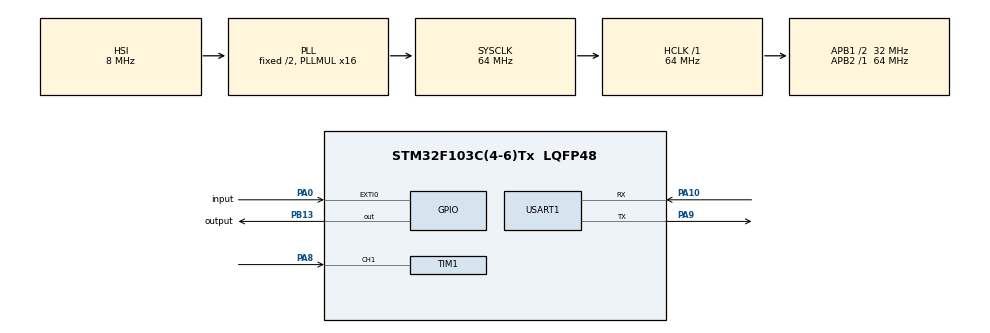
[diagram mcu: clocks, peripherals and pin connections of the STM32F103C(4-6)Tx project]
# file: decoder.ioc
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Mcu.Family=STM32F1
Mcu.Name=STM32F103C(4-6)Tx
Mcu.Package=LQFP48
NVIC.EXTI0_IRQn=true\:0\:0\:false\:false\:true\:true\:true
NVIC.PriorityGroup=NVIC_PRIORITYGROUP_4
NVIC.TIM1_CC_IRQn=true\:0\:0\:false\:false\:true\:true\:true
PA0-WKUP.GPIO_Label=input
PA0-WKUP.GPIO_ModeDefaultEXTI=GPIO_MODE_IT_RISING_FALLING
PA0-WKUP.GPIO_PuPd=GPIO_PULLDOWN
PA0-WKUP.Signal=GPXTI0
PA10.Mode=Asynchronous
PA10.Signal=USART1_RX
PA13.Mode=Serial_Wire
PA13.Signal=SYS_JTMS-SWDIO
PA14.Mode=Serial_Wire
PA14.Signal=SYS_JTCK-SWCLK
PA8.Signal=S_TIM1_CH1
PA9.Mode=Asynchronous
PA9.Signal=USART1_TX
PB13.GPIO_Label=output
PB13.GPIO_PuPd=GPIO_PULLDOWN
PB13.GPIO_Speed=GPIO_SPEED_FREQ_HIGH
PB13.PinState=GPIO_PIN_SET
PB13.Signal=GPIO_Output
ProjectManager.HeapSize=0x200
ProjectManager.StackSize=0x400
ProjectManager.TargetToolchain=STM32CubeIDE
RCC.AHBFreq_Value=64000000
RCC.APB1CLKDivider=RCC_HCLK_DIV2
RCC.APB1Freq_Value=32000000
RCC.APB1TimFreq_Value=64000000
RCC.APB2Freq_Value=64000000
RCC.APB2TimFreq_Value=64000000
RCC.HCLKFreq_Value=64000000
RCC.PLLMUL=RCC_PLL_MUL16
RCC.SYSCLKFreq_VALUE=64000000
RCC.SYSCLKSource=RCC_SYSCLKSOURCE_PLLCLK
RCC.USBFreq_Value=64000000
SH.S_TIM1_CH1.0=TIM1_CH1,Input_Capture1_from_TI1
TIM1.Channel-Input_Capture1_from_TI1=TIM_CHANNEL_1
TIM1.Prescaler=63
TIM2.Prescaler=64
USART1.VirtualMode=VM_ASYNC
VP_TIM1_VS_ClockSourceINT.Mode=Internal
VP_TIM2_VS_ClockSourceINT.Mode=Internal
board=custom

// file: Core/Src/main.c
/* USER CODE BEGIN Header */
/**
  ******************************************************************************
  * @file           : main.c
  * @brief          : Main program body
  ******************************************************************************
  * @attention
  *
  * Copyright (c) 2022 STMicroelectronics.
  * All rights reserved.
  *
  * This software is licensed under terms that can be found in the LICENSE file
  * in the root directory of this software component.
  * If no LICENSE file comes with this software, it is provided AS-IS.
  *
  ******************************************************************************
  */
/* USER CODE END Header */
#include "main.h"

/* USER CODE BEGIN Includes */
 #include <stdio.h>

/* USER CODE END Includes */

TIM_HandleTypeDef htim1;
TIM_HandleTypeDef htim2;

UART_HandleTypeDef huart1;

/* USER CODE BEGIN PV */
uint8_t key_aa[25]={0,1,0,1,0,0,1,1,0,1,0,1,1,0,1,0,0,1,1,0,0,0,0,1,0};
uint8_t key_lock[25]={0,1,0,1,0,0,1,1,0,1,0,1,1,0,1,0,0,1,1,0,0,1,0,0,0};
uint8_t key_unlock[25]={0,1,0,1,0,0,1,1,0,1,0,1,1,0,1,0,0,1,1,0,1,0,0,0,0};
/* USER CODE END PV */

void SystemClock_Config(void);
static void MX_GPIO_Init(void);
static void MX_TIM1_Init(void);
static void MX_USART1_UART_Init(void);
static void MX_TIM2_Init(void);
/* USER CODE BEGIN PFP */
void command_send(uint8_t* cmd);
void command_send_high();
void command_send_low();
void delay_us(uint16_t num);
void unlock();
void lock();
/* USER CODE END PFP */

/* USER CODE BEGIN 0 */
#ifdef __GNUC__
#define PUTCHAR_PROTOTYPE int __io_putchar(int ch)
#else
#define PUTCHAR_PROTOTYPE int fputc(int ch, FILE *f)
#endif

PUTCHAR_PROTOTYPE
{
 HAL_UART_Transmit(&huart1,(uint8_t*)&ch, 1, 0xFFFF);
 return ch;
 }

/* USER CODE END 0 */

int main(void)
{

  /* MCU Configuration--------------------------------------------------------*/

  /* Reset of all peripherals, Initializes the Flash interface and the Systick. */
  HAL_Init();

  /* Configure the system clock */
  SystemClock_Config();

  /* Initialize all configured peripherals */
  MX_GPIO_Init();
  MX_TIM1_Init();
  MX_USART1_UART_Init();
  MX_TIM2_Init();
  /* USER CODE BEGIN 2 */
  HAL_TIM_IC_Start_IT(&htim1, TIM_CHANNEL_1);

  /* USER CODE END 2 */
  /* Infinite loop */
  /* USER CODE BEGIN WHILE */
  unlock();
  HAL_Delay(5000);
  lock();
  while (1)
  {
    /* USER CODE END WHILE */
  }
}

void SystemClock_Config(void)
{
  RCC_OscInitTypeDef RCC_OscInitStruct = {0};
  RCC_ClkInitTypeDef RCC_ClkInitStruct = {0};

  /** Initializes the RCC Oscillators according to the specified parameters
  * in the RCC_OscInitTypeDef structure.
  */
  RCC_OscInitStruct.OscillatorType = RCC_OSCILLATORTYPE_HSI;
  RCC_OscInitStruct.HSIState = RCC_HSI_ON;
  RCC_OscInitStruct.HSICalibrationValue = RCC_HSICALIBRATION_DEFAULT;
  RCC_OscInitStruct.PLL.PLLState = RCC_PLL_ON;
  RCC_OscInitStruct.PLL.PLLSource = RCC_PLLSOURCE_HSI_DIV2;
  RCC_OscInitStruct.PLL.PLLMUL = RCC_PLL_MUL16;
  if (HAL_RCC_OscConfig(&RCC_OscInitStruct) != HAL_OK)
  {
    Error_Handler();
  }
  /** Initializes the CPU, AHB and APB buses clocks
  */
  RCC_ClkInitStruct.ClockType = RCC_CLOCKTYPE_HCLK|RCC_CLOCKTYPE_SYSCLK
                              |RCC_CLOCKTYPE_PCLK1|RCC_CLOCKTYPE_PCLK2;
  RCC_ClkInitStruct.SYSCLKSource = RCC_SYSCLKSOURCE_PLLCLK;
  RCC_ClkInitStruct.AHBCLKDivider = RCC_SYSCLK_DIV1;
  RCC_ClkInitStruct.APB1CLKDivider = RCC_HCLK_DIV2;
  RCC_ClkInitStruct.APB2CLKDivider = RCC_HCLK_DIV1;

  if (HAL_RCC_ClockConfig(&RCC_ClkInitStruct, FLASH_LATENCY_2) != HAL_OK)
  {
    Error_Handler();
  }
}

static void MX_TIM1_Init(void)
{

  TIM_ClockConfigTypeDef sClockSourceConfig = {0};
  TIM_MasterConfigTypeDef sMasterConfig = {0};
  TIM_IC_InitTypeDef sConfigIC = {0};

  htim1.Instance = TIM1;
  htim1.Init.Prescaler = 63;
  htim1.Init.CounterMode = TIM_COUNTERMODE_UP;
  htim1.Init.Period = 65535;
  htim1.Init.ClockDivision = TIM_CLOCKDIVISION_DIV1;
  htim1.Init.RepetitionCounter = 0;
  htim1.Init.AutoReloadPreload = TIM_AUTORELOAD_PRELOAD_DISABLE;
  if (HAL_TIM_Base_Init(&htim1) != HAL_OK)
  {
    Error_Handler();
  }
  sClockSourceConfig.ClockSource = TIM_CLOCKSOURCE_INTERNAL;
  if (HAL_TIM_ConfigClockSource(&htim1, &sClockSourceConfig) != HAL_OK)
  {
    Error_Handler();
  }
  if (HAL_TIM_IC_Init(&htim1) != HAL_OK)
  {
    Error_Handler();
  }
  sMasterConfig.MasterOutputTrigger = TIM_TRGO_RESET;
  sMasterConfig.MasterSlaveMode = TIM_MASTERSLAVEMODE_DISABLE;
  if (HAL_TIMEx_MasterConfigSynchronization(&htim1, &sMasterConfig) != HAL_OK)
  {
    Error_Handler();
  }
  sConfigIC.ICPolarity = TIM_INPUTCHANNELPOLARITY_RISING;
  sConfigIC.ICSelection = TIM_ICSELECTION_DIRECTTI;
  sConfigIC.ICPrescaler = TIM_ICPSC_DIV1;
  sConfigIC.ICFilter = 0;
  if (HAL_TIM_IC_ConfigChannel(&htim1, &sConfigIC, TIM_CHANNEL_1) != HAL_OK)
  {
    Error_Handler();
  }

}

static void MX_TIM2_Init(void)
{

  TIM_ClockConfigTypeDef sClockSourceConfig = {0};
  TIM_MasterConfigTypeDef sMasterConfig = {0};

  htim2.Instance = TIM2;
  htim2.Init.Prescaler = 64;
  htim2.Init.CounterMode = TIM_COUNTERMODE_UP;
  htim2.Init.Period = 65535;
  htim2.Init.ClockDivision = TIM_CLOCKDIVISION_DIV1;
  htim2.Init.AutoReloadPreload = TIM_AUTORELOAD_PRELOAD_DISABLE;
  if (HAL_TIM_Base_Init(&htim2) != HAL_OK)
  {
    Error_Handler();
  }
  sClockSourceConfig.ClockSource = TIM_CLOCKSOURCE_INTERNAL;
  if (HAL_TIM_ConfigClockSource(&htim2, &sClockSourceConfig) != HAL_OK)
  {
    Error_Handler();
  }
  sMasterConfig.MasterOutputTrigger = TIM_TRGO_RESET;
  sMasterConfig.MasterSlaveMode = TIM_MASTERSLAVEMODE_DISABLE;
  if (HAL_TIMEx_MasterConfigSynchronization(&htim2, &sMasterConfig) != HAL_OK)
  {
    Error_Handler();
  }

}

static void MX_USART1_UART_Init(void)
{

  huart1.Instance = USART1;
  huart1.Init.BaudRate = 115200;
  huart1.Init.WordLength = UART_WORDLENGTH_8B;
  huart1.Init.StopBits = UART_STOPBITS_1;
  huart1.Init.Parity = UART_PARITY_NONE;
  huart1.Init.Mode = UART_MODE_TX_RX;
  huart1.Init.HwFlowCtl = UART_HWCONTROL_NONE;
  huart1.Init.OverSampling = UART_OVERSAMPLING_16;
  if (HAL_UART_Init(&huart1) != HAL_OK)
  {
    Error_Handler();
  }

}

static void MX_GPIO_Init(void)
{
  GPIO_InitTypeDef GPIO_InitStruct = {0};

  /* GPIO Ports Clock Enable */
  __HAL_RCC_GPIOA_CLK_ENABLE();
  __HAL_RCC_GPIOB_CLK_ENABLE();

  /*Configure GPIO pin Output Level */
  HAL_GPIO_WritePin(output_GPIO_Port, output_Pin, GPIO_PIN_SET);

  /*Configure GPIO pin : input_Pin */
  GPIO_InitStruct.Pin = input_Pin;
  GPIO_InitStruct.Mode = GPIO_MODE_IT_RISING_FALLING;
  GPIO_InitStruct.Pull = GPIO_PULLDOWN;
  HAL_GPIO_Init(input_GPIO_Port, &GPIO_InitStruct);

  /*Configure GPIO pin : output_Pin */
  GPIO_InitStruct.Pin = output_Pin;
  GPIO_InitStruct.Mode = GPIO_MODE_OUTPUT_PP;
  GPIO_InitStruct.Pull = GPIO_PULLDOWN;
  GPIO_InitStruct.Speed = GPIO_SPEED_FREQ_HIGH;
  HAL_GPIO_Init(output_GPIO_Port, &GPIO_InitStruct);

  /* EXTI interrupt init*/
  HAL_NVIC_SetPriority(EXTI0_IRQn, 0, 0);
  HAL_NVIC_EnableIRQ(EXTI0_IRQn);

}

/* USER CODE BEGIN 4 */
void HAL_GPIO_EXTI_Callback(uint16_t GPIO_Pin)
{/*
	char data[]="get!";
	static uint16_t last;
	if(GPIO_Pin==input_Pin)
	{
		if(HAL_GPIO_ReadPin(input_GPIO_Port, input_Pin)==GPIO_PIN_SET)
		{
			//HAL_UART_Transmit(&huart1, data, 4, 10);
			HAL_TIM_Base_Start(&htim1);
		}
		else
		{
			//HAL_TIM_R
		}
	}
	*/
}
void HAL_TIM_IC_CaptureCallback(TIM_HandleTypeDef *htim)
{
	static uint8_t capture_cnt=0;
	static uint32_t high=0;
	char data[2];
	if(htim->Instance==TIM1)
	{
		if(capture_cnt==0)
		{
			capture_cnt=1;
			int32_t delta_t=HAL_TIM_ReadCapturedValue(&htim1, TIM_CHANNEL_1);
			__HAL_TIM_SET_COUNTER(&htim1, 0);
			//printf("low: %u\r\n", delta_t);
			__HAL_TIM_SET_CAPTUREPOLARITY(&htim1, TIM_CHANNEL_1, TIM_ICPOLARITY_FALLING);
			if((delta_t>250)&&(delta_t<300))
			{
				if((high>800)&&(high<900))
				{
					data[0]='1';
					HAL_UART_Transmit(&huart1, data, 1, 10);
				}
			}
			else if((delta_t>800)&&(delta_t<900))
			{
				if((high>250)&&(high<300))
				{
					data[0]='0';

					HAL_UART_Transmit(&huart1, data, 1, 10);
				}
			}
		}
		else
		{
			capture_cnt=0;
			uint32_t delta_t=HAL_TIM_ReadCapturedValue(&htim1, TIM_CHANNEL_1);
			__HAL_TIM_SET_COUNTER(&htim1, 0);
			__HAL_TIM_SET_CAPTUREPOLARITY(&htim1, TIM_CHANNEL_1, TIM_INPUTCHANNELPOLARITY_RISING);
			high=delta_t;
		}
	}
}

void command_send(uint8_t* cmd)
{
	for(uint8_t i=0;i<25;i++)
	{
		switch (cmd[i])
		{
		case 0:
			command_send_low();
			break;
		case 1:
			command_send_high();
			break;
		default:
			command_send_low();
		}
	}
}
void command_send_high()
{
	HAL_GPIO_WritePin(output_GPIO_Port, output_Pin, GPIO_PIN_SET);
	delay_us(840);
	HAL_GPIO_WritePin(output_GPIO_Port, output_Pin, GPIO_PIN_RESET);
	delay_us(275);
}
void command_send_low()
{
	HAL_GPIO_WritePin(output_GPIO_Port, output_Pin, GPIO_PIN_SET);
	delay_us(275);
	HAL_GPIO_WritePin(output_GPIO_Port, output_Pin, GPIO_PIN_RESET);
	delay_us(860);
}
void delay_us(uint16_t num)
{
	uint16_t now=0;
	__HAL_TIM_SET_COUNTER(&htim2, 0);
	HAL_TIM_Base_Start(&htim2);
	while(now<num)
	{
		now=__HAL_TIM_GET_COUNTER(&htim2);
	}
	HAL_TIM_Base_Stop(&htim2);
}
void unlock()
{
	command_send(key_unlock);
	delay_us(8800);
	command_send(key_unlock);
	HAL_Delay(1000);
	command_send(key_aa);
	delay_us(8800);
	command_send(key_aa);
	HAL_Delay(500);
	command_send(key_aa);
	delay_us(8800);
	command_send(key_aa);
}
void lock()
{
	command_send(key_unlock);
	delay_us(8800);
	command_send(key_unlock);
	HAL_Delay(3000);
	command_send(key_lock);
	delay_us(8800);
	command_send(key_lock);
}
/* USER CODE END 4 */

void Error_Handler(void)
{
  __disable_irq();
  while (1)
  {
  }
}
